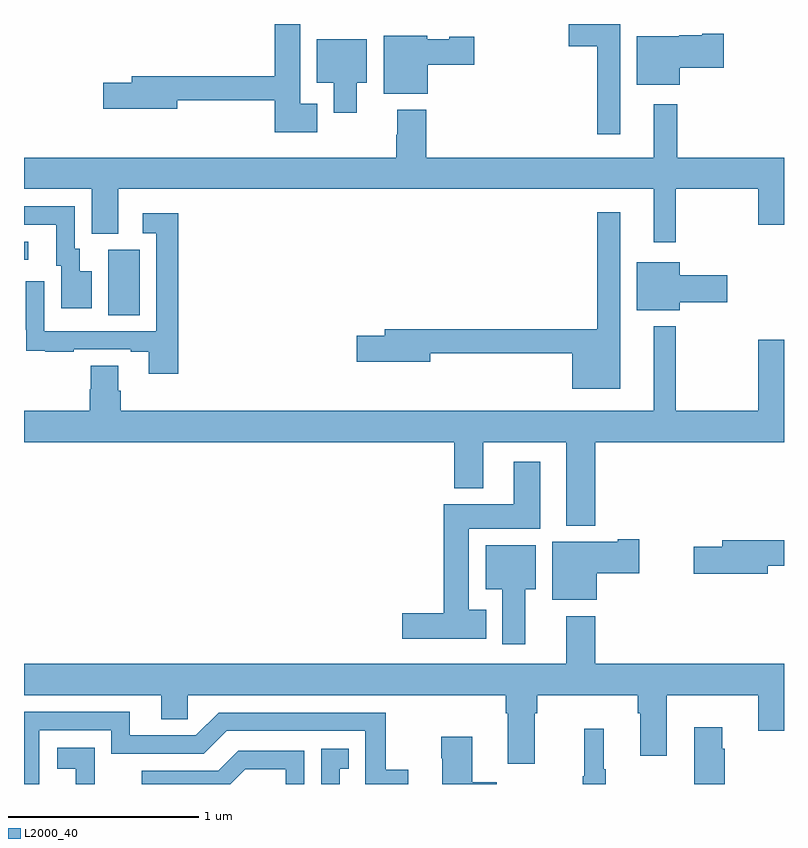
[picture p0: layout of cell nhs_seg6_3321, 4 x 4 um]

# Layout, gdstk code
import gdstk
lib = gdstk.Library(unit=1e-6, precision=1e-09)
def R(c, l, rs):  # rectangles x0, y0, x1, y1
    for r in rs: c.add(gdstk.rectangle(r[:2], r[2:], *l))
def P(c, l, *ps):  # polygons
    for p in ps: c.add(gdstk.Polygon(p, *l))
L2000_40 = (2000, 40)

nhs_seg6_3321 = lib.new_cell('nhs_seg6_3321')
R(nhs_seg6_3321, L2000_40, [(305.444,983.968,305.608,984.312), (305,984.258,305.023,984.354)])
P(nhs_seg6_3321, L2000_40, [(306.544,985.081),(306.454,985.081),(306.454,985.5),(306.32,985.5),(306.32,985.226),(305.567,985.226),(305.567,985.19),(305.418,985.19),(305.418,985.055),(305.806,985.055),(305.806,985.098),(306.32,985.098),(306.32,984.929),(306.544,984.929)],
  [(308.137,985.5),(307.868,985.5),(307.868,985.382),(308.016,985.382),(308.016,984.921),(308.137,984.921)],
  [(308.452,985.27),(308.683,985.27),(308.683,985.448),(308.57,985.448),(308.57,985.441),(308.448,985.441),(308.448,985.435),(308.225,985.435),(308.225,985.181),(308.452,985.181)],
  [(307.126,985.286),(307.369,985.286),(307.369,985.433),(307.239,985.433),(307.239,985.42),(307.122,985.42),(307.122,985.438),(306.893,985.438),(306.893,985.133),(307.126,985.133)],
  [(306.751,985.19),(306.805,985.19),(306.805,985.42),(306.542,985.42),(306.542,985.19),(306.629,985.19),(306.629,985.032),(306.751,985.032)],
  [(306.965,985.048),(306.965,984.917),(306.958,984.917),(306.958,984.796),(305,984.796),(305,984.632),(305.357,984.632),(305.357,984.397),(305.497,984.397),(305.497,984.632),(308.315,984.632),(308.315,984.351),(308.429,984.351),(308.429,984.632),(308.864,984.632),(308.864,984.444),(309,984.444),(309,984.796),(308.437,984.796),(308.437,985.078),(308.315,985.078),(308.315,984.796),(307.118,984.796),(307.118,985.048)],
  [(305.356,984.199),(305.293,984.199),(305.293,984.318),(305.268,984.318),(305.268,984.54),(305,984.54),(305,984.444),(305.171,984.444),(305.171,984.228),(305.195,984.228),(305.195,984.003),(305.356,984.003)],
  [(308.137,984.508),(308.016,984.508),(308.016,983.894),(306.899,983.894),(306.899,983.858),(306.75,983.858),(306.75,983.723),(307.138,983.723),(307.138,983.766),(307.886,983.766),(307.886,983.579),(308.137,983.579)],
  [(305.813,984.505),(305.625,984.505),(305.625,984.399),(305.697,984.399),(305.697,983.883),(305.106,983.883),(305.106,984.145),(305.01,984.145),(305.01,983.89),(305.011,983.89),(305.011,983.781),(305.113,983.781),(305.113,983.775),(305.261,983.775),(305.261,983.787),(305.561,983.787),(305.561,983.775),(305.657,983.775),(305.657,983.658),(305.813,983.658)],
  [(308.452,984.035),(308.701,984.035),(308.701,984.177),(308.452,984.177),(308.452,984.247),(308.225,984.247),(308.225,983.993),(308.452,983.993)],
  [(308.006,983.3),(309,983.3),(309,983.839),(308.864,983.839),(308.864,983.464),(308.429,983.464),(308.429,983.908),(308.315,983.908),(308.315,983.464),(305.51,983.464),(305.51,983.57),(305.497,983.57),(305.497,983.702),(305.35,983.702),(305.35,983.577),(305.345,983.577),(305.345,983.464),(305,983.464),(305,983.3),(307.265,983.3),(307.265,983.057),(307.417,983.057),(307.417,983.3),(307.853,983.3),(307.853,982.859),(308.006,982.859)],
  [(307.432,982.417),(307.342,982.417),(307.342,982.844),(307.717,982.844),(307.717,983.197),(307.577,983.197),(307.577,982.972),(307.208,982.972),(307.208,982.4),(306.99,982.4),(306.99,982.265),(307.432,982.265)],
  [(308.014,982.609),(308.239,982.609),(308.239,982.787),(308.126,982.787),(308.126,982.774),(307.781,982.774),(307.781,982.469),(308.014,982.469)],
  [(308.914,982.648),(309,982.648),(309,982.784),(308.675,982.784),(308.675,982.748),(308.526,982.748),(308.526,982.606),(308.914,982.606)],
  [(307.639,982.526),(307.693,982.526),(307.693,982.756),(307.43,982.756),(307.43,982.526),(307.517,982.526),(307.517,982.236),(307.639,982.236)],
  [(307.687,981.872),(307.7,981.872),(307.7,981.968),(308.231,981.968),(308.231,981.872),(308.243,981.872),(308.243,981.648),(308.383,981.648),(308.383,981.968),(308.864,981.968),(308.864,981.78),(309,981.78),(309,982.132),(308.006,982.132),(308.006,982.384),(307.853,982.384),(307.853,982.132),(305,982.132),(305,981.968),(305.723,981.968),(305.723,981.841),(305.862,981.841),(305.862,981.968),(307.535,981.968),(307.535,981.872),(307.547,981.872),(307.547,981.606),(307.687,981.606)],
  [(305.079,981.783),(305.46,981.783),(305.46,981.66),(305.946,981.66),(306.066,981.78),(306.795,981.78),(306.795,981.5),(307.022,981.5),(307.022,981.574),(306.904,981.574),(306.904,981.876),(306.024,981.876),(305.904,981.756),(305.557,981.756),(305.557,981.879),(305,981.879),(305,981.5),(305.079,981.5)],
  [(308.687,981.686),(308.674,981.686),(308.674,981.799),(308.528,981.799),(308.528,981.5),(308.687,981.5)],
  [(308.062,981.577),(308.051,981.577),(308.051,981.79),(307.948,981.79),(307.948,981.54),(307.941,981.54),(307.941,981.5),(308.062,981.5)],
  [(307.487,981.509),(307.36,981.509),(307.36,981.748),(307.195,981.748),(307.195,981.635),(307.202,981.635),(307.202,981.5),(307.487,981.5)],
  [(305.373,981.691),(305.175,981.691),(305.175,981.581),(305.273,981.581),(305.273,981.5),(305.373,981.5)],
  [(306.661,981.579),(306.71,981.579),(306.71,981.685),(306.564,981.685),(306.564,981.5),(306.661,981.5)],
  [(306.164,981.578),(306.378,981.578),(306.378,981.5),(306.474,981.5),(306.474,981.675),(306.128,981.675),(306.023,981.57),(305.62,981.57),(305.62,981.5),(306.086,981.5)])

lib.write_gds('nhs_seg6_3321.gds')
